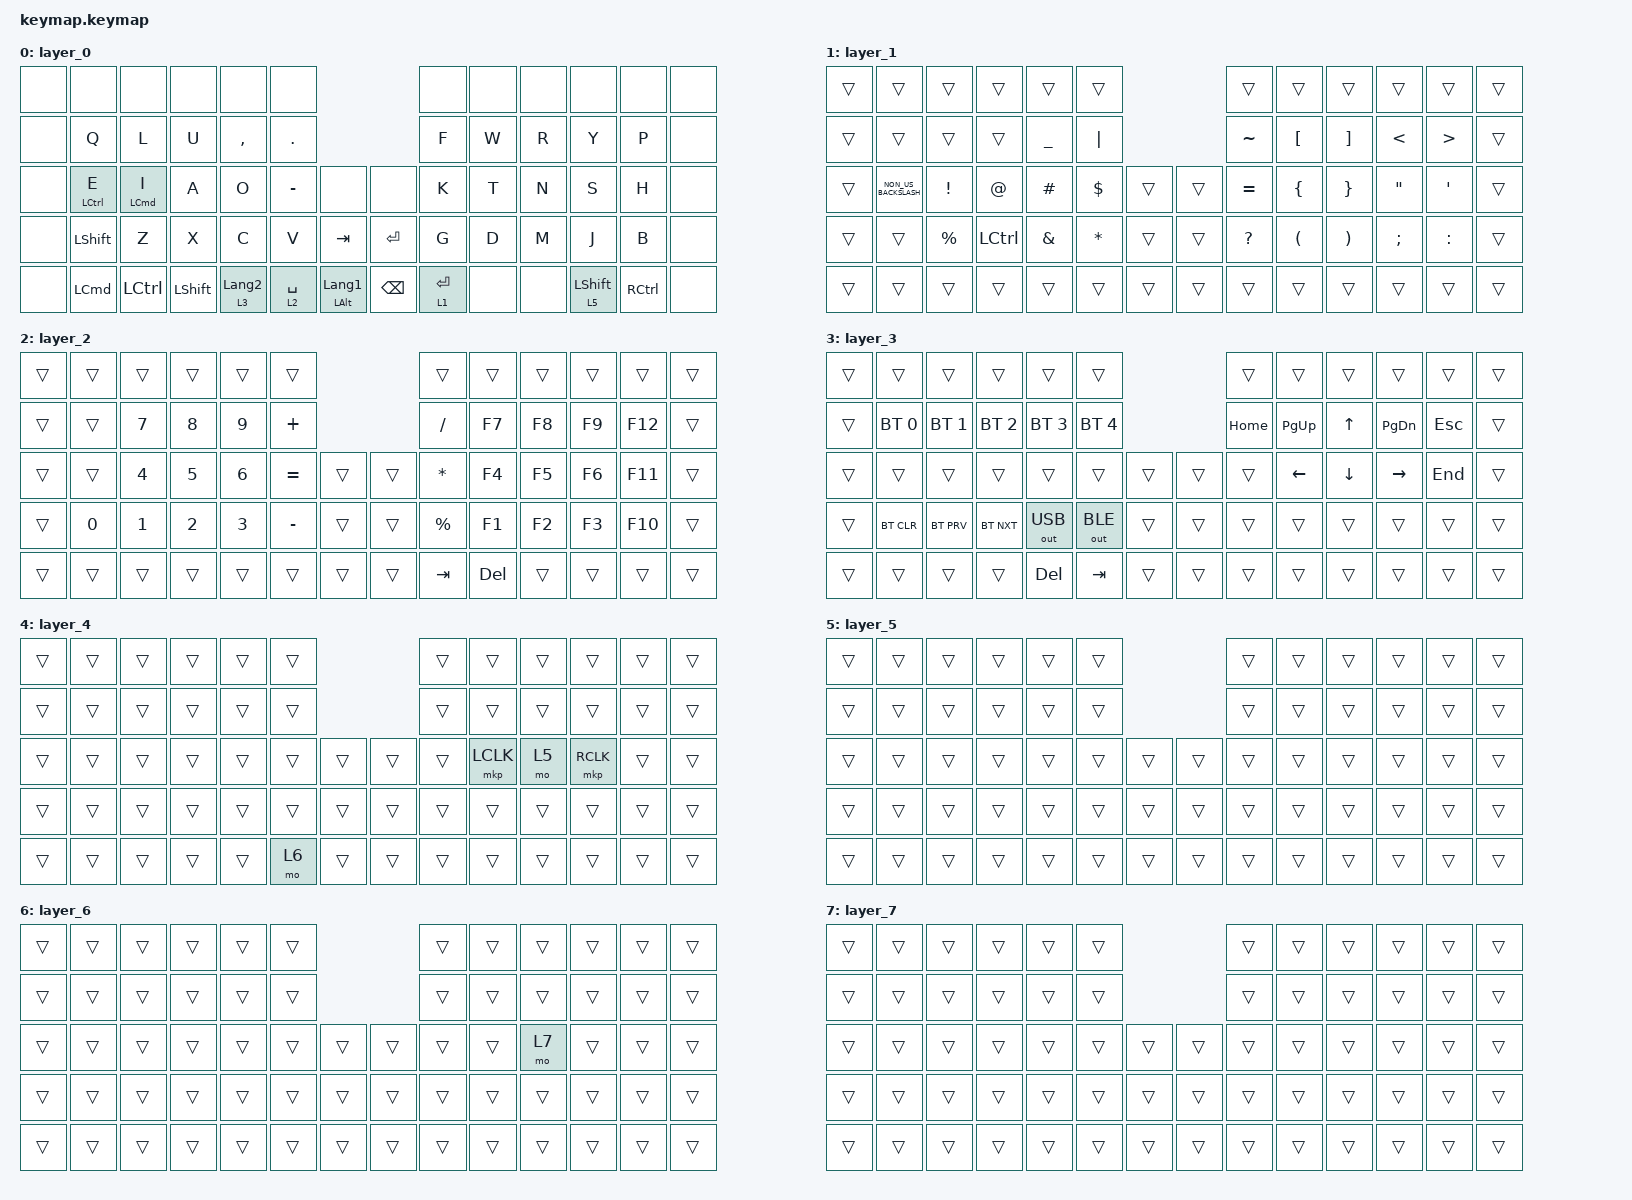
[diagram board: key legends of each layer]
#include <behaviors.dtsi>
#include <dt-bindings/zmk/bt.h>
#include <dt-bindings/zmk/keys.h>
#include <dt-bindings/zmk/outputs.h>
#include <dt-bindings/zmk/pointing.h>

/ {
    keymap {
        compatible = "zmk,keymap";

        layer_0 {
            bindings = <
&none  &none             &none               &none           &none             &none                                                &none        &none  &none  &none             &none      &none
&none  &kp Q             &kp L               &kp U           &kp COMMA         &kp PERIOD                                           &kp F        &kp W  &kp R  &kp Y             &kp P      &none
&none  &mt LCTRL E       &mt LEFT_COMMAND I  &kp A           &kp O             &kp MINUS    &none                    &none          &kp K        &kp T  &kp N  &kp S             &kp H      &none
&none  &kp LEFT_SHIFT    &kp Z               &kp X           &kp C             &kp V        &kp TAB                  &kp RET        &kp G        &kp D  &kp M  &kp J             &kp B      &none
&none  &kp LEFT_COMMAND  &kp LCTRL           &kp LEFT_SHIFT  &lt 3 LANGUAGE_2  &lt 2 SPACE  &mt LEFT_ALT LANGUAGE_1  &kp BACKSPACE  &lt 1 ENTER  &none  &none  &lt 5 LEFT_SHIFT  &kp RCTRL  &none
            >;
        };

        layer_1 {
            bindings = <
&trans  &trans                &trans           &trans       &trans          &trans                        &trans        &trans                &trans                 &trans             &trans            &trans
&trans  &trans                &trans           &trans       &kp UNDERSCORE  &kp PIPE                      &kp TILDE     &kp LEFT_BRACKET      &kp RIGHT_BRACKET      &kp LESS_THAN      &kp GREATER_THAN  &trans
&trans  &kp NON_US_BACKSLASH  &kp EXCLAMATION  &kp AT_SIGN  &kp HASH        &kp DOLLAR    &trans  &trans  &kp EQUAL     &kp LEFT_BRACE        &kp RIGHT_BRACE        &kp DOUBLE_QUOTES  &kp SQT           &trans
&trans  &trans                &kp PERCENT      &kp LCTRL    &kp AMPERSAND   &kp ASTERISK  &trans  &trans  &kp QUESTION  &kp LEFT_PARENTHESIS  &kp RIGHT_PARENTHESIS  &kp SEMICOLON      &kp COLON         &trans
&trans  &trans                &trans           &trans       &trans          &trans        &trans  &trans  &trans        &trans                &trans                 &trans             &trans            &trans
            >;
        };

        layer_2 {
            bindings = <
&trans  &trans  &trans        &trans        &trans        &trans                     &trans        &trans   &trans  &trans  &trans   &trans
&trans  &trans  &kp N7        &kp N8        &kp N9        &kp PLUS                   &kp SLASH     &kp F7   &kp F8  &kp F9  &kp F12  &trans
&trans  &trans  &kp NUMBER_4  &kp N5        &kp NUMBER_6  &kp EQUAL  &trans  &trans  &kp ASTERISK  &kp F4   &kp F5  &kp F6  &kp F11  &trans
&trans  &kp N0  &kp NUMBER_1  &kp NUMBER_2  &kp NUMBER_3  &kp MINUS  &trans  &trans  &kp PERCENT   &kp F1   &kp F2  &kp F3  &kp F10  &trans
&trans  &trans  &trans        &trans        &trans        &trans     &trans  &trans  &kp TAB       &kp DEL  &trans  &trans  &trans   &trans
            >;
        };

        layer_3 {
            bindings = <
&trans  &trans        &trans        &trans        &trans        &trans                        &trans    &trans     &trans    &trans     &trans      &trans
&trans  &bt BT_SEL 0  &bt BT_SEL 1  &bt BT_SEL 2  &bt BT_SEL 3  &bt BT_SEL 4                  &kp HOME  &kp PG_UP  &kp UP    &kp PG_DN  &kp ESCAPE  &trans
&trans  &trans        &trans        &trans        &trans        &trans        &trans  &trans  &trans    &kp LEFT   &kp DOWN  &kp RIGHT  &kp END     &trans
&trans  &bt BT_CLR    &bt BT_PRV    &bt BT_NXT    &out OUT_USB  &out OUT_BLE  &trans  &trans  &trans    &trans     &trans    &trans     &trans      &trans
&trans  &trans        &trans        &trans        &kp DELETE    &kp TAB       &trans  &trans  &trans    &trans     &trans    &trans     &trans      &trans
            >;
        };

        layer_4 {
            bindings = <
&trans  &trans  &trans  &trans  &trans  &trans                  &trans  &trans     &trans  &trans     &trans  &trans
&trans  &trans  &trans  &trans  &trans  &trans                  &trans  &trans     &trans  &trans     &trans  &trans
&trans  &trans  &trans  &trans  &trans  &trans  &trans  &trans  &trans  &mkp LCLK  &mo 5   &mkp RCLK  &trans  &trans
&trans  &trans  &trans  &trans  &trans  &trans  &trans  &trans  &trans  &trans     &trans  &trans     &trans  &trans
&trans  &trans  &trans  &trans  &trans  &mo 6   &trans  &trans  &trans  &trans     &trans  &trans     &trans  &trans
            >;
        };

        layer_5 {
            bindings = <
&trans  &trans  &trans  &trans  &trans  &trans                  &trans  &trans  &trans  &trans  &trans  &trans
&trans  &trans  &trans  &trans  &trans  &trans                  &trans  &trans  &trans  &trans  &trans  &trans
&trans  &trans  &trans  &trans  &trans  &trans  &trans  &trans  &trans  &trans  &trans  &trans  &trans  &trans
&trans  &trans  &trans  &trans  &trans  &trans  &trans  &trans  &trans  &trans  &trans  &trans  &trans  &trans
&trans  &trans  &trans  &trans  &trans  &trans  &trans  &trans  &trans  &trans  &trans  &trans  &trans  &trans
            >;
        };

        layer_6 {
            bindings = <
&trans  &trans  &trans  &trans  &trans  &trans                  &trans  &trans  &trans  &trans  &trans  &trans
&trans  &trans  &trans  &trans  &trans  &trans                  &trans  &trans  &trans  &trans  &trans  &trans
&trans  &trans  &trans  &trans  &trans  &trans  &trans  &trans  &trans  &trans  &mo 7   &trans  &trans  &trans
&trans  &trans  &trans  &trans  &trans  &trans  &trans  &trans  &trans  &trans  &trans  &trans  &trans  &trans
&trans  &trans  &trans  &trans  &trans  &trans  &trans  &trans  &trans  &trans  &trans  &trans  &trans  &trans
            >;
        };

        layer_7 {
            bindings = <
&trans  &trans  &trans  &trans  &trans  &trans                  &trans  &trans  &trans  &trans  &trans  &trans
&trans  &trans  &trans  &trans  &trans  &trans                  &trans  &trans  &trans  &trans  &trans  &trans
&trans  &trans  &trans  &trans  &trans  &trans  &trans  &trans  &trans  &trans  &trans  &trans  &trans  &trans
&trans  &trans  &trans  &trans  &trans  &trans  &trans  &trans  &trans  &trans  &trans  &trans  &trans  &trans
&trans  &trans  &trans  &trans  &trans  &trans  &trans  &trans  &trans  &trans  &trans  &trans  &trans  &trans
            >;
        };
    };
};
